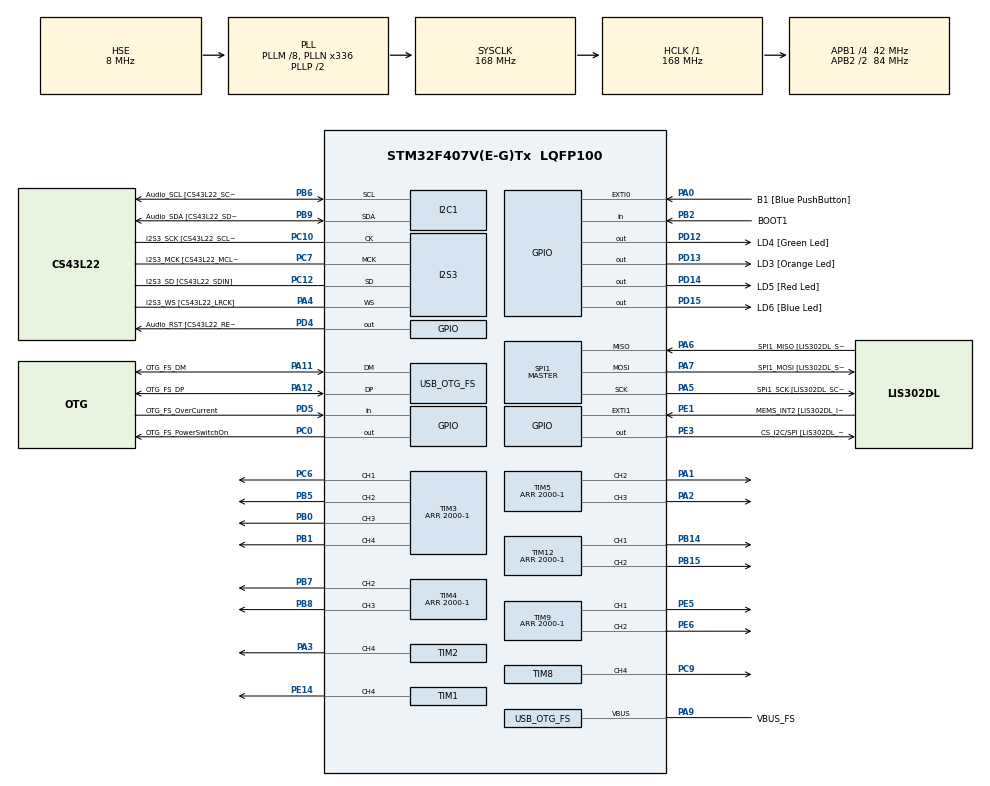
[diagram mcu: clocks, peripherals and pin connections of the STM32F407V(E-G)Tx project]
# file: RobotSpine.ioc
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FREERTOS.BinarySemaphores01=usbRxSemaphore,Static,usbRxSemaphoreControlBlock
FREERTOS.Tasks01=defaultTask,24,128,StartDefaultTask,Default,NULL,Dynamic,NULL,NULL
I2S3.AudioFreq-Half_Duplex_Master=I2S_AUDIOFREQ_96K
I2S3.ErrorAudioFreq=-2.34 %
I2S3.ErrorAudioFreq-Half_Duplex_Master=0.8 %
I2S3.FullDuplexMode=I2S_FULLDUPLEXMODE_DISABLE
I2S3.Instance=SPI$Index
I2S3.RealAudioFreq=93.75 KHz
I2S3.RealAudioFreq-Half_Duplex_Master=96.774 KHz
I2S3.VirtualMode=I2S_MODE_MASTER
Mcu.Family=STM32F4
Mcu.Name=STM32F407V(E-G)Tx
Mcu.Package=LQFP100
NVIC.OTG_FS_IRQn=true\:5\:0\:false\:false\:true\:true\:true\:true
NVIC.PriorityGroup=NVIC_PRIORITYGROUP_4
NVIC.TIM7_IRQn=true\:0\:0\:false\:false\:true\:false\:false\:true
NVIC.TimeBase=TIM7_IRQn
NVIC.TimeBaseIP=TIM7
PA0-WKUP.GPIO_Label=B1 [Blue PushButton]
PA0-WKUP.GPIO_ModeDefaultEXTI=GPIO_MODE_EVT_RISING
PA0-WKUP.GPIO_PuPd=GPIO_NOPULL
PA0-WKUP.Signal=GPXTI0
PA1.Signal=S_TIM5_CH2
PA10.GPIO_Label=OTG_FS_ID
PA10.GPIO_Mode=GPIO_MODE_AF_PP
PA10.GPIO_PuPd=GPIO_NOPULL
PA10.GPIO_Speed=GPIO_SPEED_FREQ_LOW
PA10.Signal=USB_OTG_FS_ID
PA11.GPIO_Label=OTG_FS_DM
PA11.GPIO_Mode=GPIO_MODE_AF_PP
PA11.GPIO_PuPd=GPIO_NOPULL
PA11.GPIO_Speed=GPIO_SPEED_FREQ_LOW
PA11.Mode=Device_Only
PA11.Signal=USB_OTG_FS_DM
PA12.GPIO_Label=OTG_FS_DP
PA12.GPIO_Mode=GPIO_MODE_AF_PP
PA12.GPIO_PuPd=GPIO_NOPULL
PA12.GPIO_Speed=GPIO_SPEED_FREQ_LOW
PA12.Mode=Device_Only
PA12.Signal=USB_OTG_FS_DP
PA13.GPIO_Label=SWDIO
PA13.Mode=Serial_Wire
PA13.Signal=SYS_JTMS-SWDIO
PA14.GPIO_Label=SWCLK
PA14.Mode=Serial_Wire
PA14.Signal=SYS_JTCK-SWCLK
PA2.Signal=S_TIM5_CH3
PA3.Signal=S_TIM2_CH4
PA4.GPIO_Label=I2S3_WS [CS43L22_LRCK]
PA4.GPIO_Mode=GPIO_MODE_AF_PP
PA4.GPIO_PuPd=GPIO_NOPULL
PA4.GPIO_Speed=GPIO_SPEED_FREQ_LOW
PA4.Mode=Half_Duplex_Master
PA4.Signal=I2S3_WS
PA5.GPIO_Label=SPI1_SCK [LIS302DL_SCL/SPC]
PA5.GPIO_Mode=GPIO_MODE_AF_PP
PA5.GPIO_PuPd=GPIO_NOPULL
PA5.GPIO_Speed=GPIO_SPEED_FREQ_LOW
PA5.Mode=Full_Duplex_Master
PA5.Signal=SPI1_SCK
PA6.GPIO_Label=SPI1_MISO [LIS302DL_SDO]
PA6.GPIO_Mode=GPIO_MODE_AF_PP
PA6.GPIO_PuPd=GPIO_NOPULL
PA6.GPIO_Speed=GPIO_SPEED_FREQ_LOW
PA6.Mode=Full_Duplex_Master
PA6.Signal=SPI1_MISO
PA7.GPIO_Label=SPI1_MOSI [LIS302DL_SDA/SDI/SDO]
PA7.GPIO_Mode=GPIO_MODE_AF_PP
PA7.GPIO_PuPd=GPIO_NOPULL
PA7.GPIO_Speed=GPIO_SPEED_FREQ_LOW
PA7.Mode=Full_Duplex_Master
PA7.Signal=SPI1_MOSI
PA9.GPIO_Label=VBUS_FS
PA9.GPIO_Mode=GPIO_MODE_INPUT
PA9.GPIO_PuPd=GPIO_NOPULL
PA9.Mode=Activate_VBUS
PA9.Signal=USB_OTG_FS_VBUS
PB0.Signal=S_TIM3_CH3
PB1.Signal=S_TIM3_CH4
PB10.GPIO_Label=CLK_IN [MP45DT02_CLK]
PB10.GPIO_Mode=GPIO_MODE_AF_PP
PB10.GPIO_PuPd=GPIO_NOPULL
PB10.GPIO_Speed=GPIO_SPEED_FREQ_LOW
PB10.Signal=I2S2_CK
PB14.Signal=S_TIM12_CH1
PB15.Signal=S_TIM12_CH2
PB2.GPIO_Label=BOOT1
PB2.GPIO_Mode=GPIO_MODE_INPUT
PB2.GPIO_PuPd=GPIO_NOPULL
PB2.Signal=GPIO_Input
PB3.GPIO_Label=SWO
PB3.Signal=SYS_JTDO-SWO
PB5.Signal=S_TIM3_CH2
PB6.GPIO_Label=Audio_SCL [CS43L22_SCL]
PB6.GPIO_Mode=GPIO_MODE_AF_OD
PB6.GPIO_PuPd=GPIO_NOPULL
PB6.GPIO_Speed=GPIO_SPEED_FREQ_LOW
PB6.Mode=I2C
PB6.Signal=I2C1_SCL
PB7.Signal=S_TIM4_CH2
PB8.Signal=S_TIM4_CH3
PB9.GPIO_Label=Audio_SDA [CS43L22_SDA]
PB9.GPIO_Mode=GPIO_MODE_AF_OD
PB9.GPIO_PuPd=GPIO_NOPULL
PB9.GPIO_Speed=GPIO_SPEED_FREQ_LOW
PB9.Mode=I2C
PB9.Signal=I2C1_SDA
PC0.GPIO_Label=OTG_FS_PowerSwitchOn
PC0.GPIO_PuPd=GPIO_NOPULL
PC0.GPIO_Speed=GPIO_SPEED_FREQ_LOW
PC0.PinState=GPIO_PIN_SET
PC0.Signal=GPIO_Output
PC10.GPIO_Label=I2S3_SCK [CS43L22_SCLK]
PC10.GPIO_Mode=GPIO_MODE_AF_PP
PC10.GPIO_PuPd=GPIO_NOPULL
PC10.GPIO_Speed=GPIO_SPEED_FREQ_LOW
PC10.Mode=Half_Duplex_Master
PC10.Signal=I2S3_CK
PC12.GPIO_Label=I2S3_SD [CS43L22_SDIN]
PC12.GPIO_Mode=GPIO_MODE_AF_PP
PC12.GPIO_PuPd=GPIO_NOPULL
PC12.GPIO_Speed=GPIO_SPEED_FREQ_LOW
PC12.Mode=Half_Duplex_Master
PC12.Signal=I2S3_SD
PC14-OSC32_IN.GPIO_Label=PC14-OSC32_IN
PC14-OSC32_IN.Mode=LSE-External-Oscillator
PC14-OSC32_IN.Signal=RCC_OSC32_IN
PC15-OSC32_OUT.GPIO_Label=PC15-OSC32_OUT
PC15-OSC32_OUT.Mode=LSE-External-Oscillator
PC15-OSC32_OUT.Signal=RCC_OSC32_OUT
PC3.GPIO_Label=PDM_OUT [MP45DT02_DOUT]
PC3.GPIO_Mode=GPIO_MODE_AF_PP
PC3.GPIO_PuPd=GPIO_NOPULL
PC3.GPIO_Speed=GPIO_SPEED_FREQ_LOW
PC3.Signal=I2S2_SD
PC6.Signal=S_TIM3_CH1
PC7.GPIO_Label=I2S3_MCK [CS43L22_MCLK]
PC7.GPIO_Mode=GPIO_MODE_AF_PP
PC7.GPIO_PuPd=GPIO_NOPULL
PC7.GPIO_Speed=GPIO_SPEED_FREQ_LOW
PC7.Mode=Master_Clock_Activated
PC7.Signal=I2S3_MCK
PC9.Signal=S_TIM8_CH4
PD12.GPIO_Label=LD4 [Green Led]
PD12.GPIO_PuPd=GPIO_NOPULL
PD12.GPIO_Speed=GPIO_SPEED_FREQ_LOW
PD12.Signal=GPIO_Output
PD13.GPIO_Label=LD3 [Orange Led]
PD13.GPIO_PuPd=GPIO_NOPULL
PD13.GPIO_Speed=GPIO_SPEED_FREQ_LOW
PD13.Signal=GPIO_Output
PD14.GPIO_Label=LD5 [Red Led]
PD14.GPIO_PuPd=GPIO_NOPULL
PD14.GPIO_Speed=GPIO_SPEED_FREQ_LOW
PD14.Signal=GPIO_Output
PD15.GPIO_Label=LD6 [Blue Led]
PD15.GPIO_PuPd=GPIO_NOPULL
PD15.GPIO_Speed=GPIO_SPEED_FREQ_LOW
PD15.Signal=GPIO_Output
PD4.GPIO_Label=Audio_RST [CS43L22_RESET]
PD4.GPIO_PuPd=GPIO_NOPULL
PD4.GPIO_Speed=GPIO_SPEED_FREQ_LOW
PD4.Signal=GPIO_Output
PD5.GPIO_Label=OTG_FS_OverCurrent
PD5.GPIO_Mode=GPIO_MODE_INPUT
PD5.GPIO_PuPd=GPIO_NOPULL
PD5.Signal=GPIO_Input
PE1.GPIO_Label=MEMS_INT2 [LIS302DL_INT2]
PE1.GPIO_ModeDefaultEXTI=GPIO_MODE_EVT_RISING
PE1.GPIO_PuPd=GPIO_NOPULL
PE1.Signal=GPXTI1
PE14.Signal=S_TIM1_CH4
PE3.GPIO_Label=CS_I2C/SPI [LIS302DL_CS_I2C/SPI]
PE3.GPIO_PuPd=GPIO_NOPULL
PE3.GPIO_Speed=GPIO_SPEED_FREQ_LOW
PE3.Signal=GPIO_Output
PE5.Signal=S_TIM9_CH1
PE6.Signal=S_TIM9_CH2
PH0-OSC_IN.GPIO_Label=PH0-OSC_IN
PH0-OSC_IN.Mode=HSE-External-Oscillator
PH0-OSC_IN.Signal=RCC_OSC_IN
PH1-OSC_OUT.GPIO_Label=PH1-OSC_OUT
PH1-OSC_OUT.Mode=HSE-External-Oscillator
PH1-OSC_OUT.Signal=RCC_OSC_OUT
ProjectManager.HeapSize=0x400
ProjectManager.StackSize=0x800
ProjectManager.TargetToolchain=Makefile
RCC.48MHZClocksFreq_Value=48000000
RCC.AHBFreq_Value=168000000
RCC.APB1CLKDivider=RCC_HCLK_DIV4
RCC.APB1Freq_Value=42000000
RCC.APB1TimFreq_Value=84000000
RCC.APB2CLKDivider=RCC_HCLK_DIV2
RCC.APB2Freq_Value=84000000
RCC.APB2TimFreq_Value=168000000
RCC.CortexFreq_Value=168000000
RCC.HCLKFreq_Value=168000000
RCC.HSE_VALUE=8000000
RCC.HSI_VALUE=16000000
RCC.PLLM=8
RCC.PLLN=336
RCC.PLLQ=7
RCC.SYSCLKFreq_VALUE=168000000
RCC.SYSCLKSource=RCC_SYSCLKSOURCE_PLLCLK
RCC.VCOOutputFreq_Value=336000000
SH.S_TIM12_CH1.0=TIM12_CH1,PWM Generation1 CH1
SH.S_TIM12_CH2.0=TIM12_CH2,PWM Generation2 CH2
SH.S_TIM1_CH4.0=TIM1_CH4,PWM Generation4 CH4
SH.S_TIM2_CH4.0=TIM2_CH4,PWM Generation4 CH4
SH.S_TIM3_CH1.0=TIM3_CH1,PWM Generation1 CH1
SH.S_TIM3_CH2.0=TIM3_CH2,PWM Generation2 CH2
SH.S_TIM3_CH3.0=TIM3_CH3,PWM Generation3 CH3
SH.S_TIM3_CH4.0=TIM3_CH4,PWM Generation4 CH4
SH.S_TIM4_CH2.0=TIM4_CH2,PWM Generation2 CH2
SH.S_TIM4_CH3.0=TIM4_CH3,PWM Generation3 CH3
SH.S_TIM5_CH2.0=TIM5_CH2,PWM Generation2 CH2
SH.S_TIM5_CH3.0=TIM5_CH3,PWM Generation3 CH3
SH.S_TIM8_CH4.0=TIM8_CH4,PWM Generation4 CH4
SH.S_TIM9_CH1.0=TIM9_CH1,PWM Generation1 CH1
SH.S_TIM9_CH2.0=TIM9_CH2,PWM Generation2 CH2
SPI1.BaudRatePrescaler-Full_Duplex_Master=SPI_BAUDRATEPRESCALER_2
SPI1.CalculateBaudRate-Full_Duplex_Master=42.0 MBits/s
SPI1.Direction=SPI_DIRECTION_2LINES
SPI1.Mode=SPI_MODE_MASTER
SPI1.Mode-Full_Duplex_Master=SPI_MODE_MASTER
SPI1.VirtualType=VM_MASTER
TIM1.Channel-PWM\ Generation4\ CH4=TIM_CHANNEL_4
TIM1.Period=2000-1
TIM12.Channel-PWM\ Generation1\ CH1=TIM_CHANNEL_1
TIM12.Channel-PWM\ Generation2\ CH2=TIM_CHANNEL_2
TIM12.Period=2000-1
TIM2.Channel-PWM\ Generation4\ CH4=TIM_CHANNEL_4
TIM2.Period=2000-1
TIM3.Channel-PWM\ Generation1\ CH1=TIM_CHANNEL_1
TIM3.Channel-PWM\ Generation2\ CH2=TIM_CHANNEL_2
TIM3.Channel-PWM\ Generation3\ CH3=TIM_CHANNEL_3
TIM3.Channel-PWM\ Generation4\ CH4=TIM_CHANNEL_4
TIM3.Period=2000-1
TIM4.Channel-PWM\ Generation2\ CH2=TIM_CHANNEL_2
TIM4.Channel-PWM\ Generation3\ CH3=TIM_CHANNEL_3
TIM4.Period=2000-1
TIM5.Channel-PWM\ Generation2\ CH2=TIM_CHANNEL_2
TIM5.Channel-PWM\ Generation3\ CH3=TIM_CHANNEL_3
TIM5.Period=2000-1
TIM8.Channel-PWM\ Generation4\ CH4=TIM_CHANNEL_4
TIM8.Period=2000-1
TIM9.Channel-PWM\ Generation1\ CH1=TIM_CHANNEL_1
TIM9.Channel-PWM\ Generation2\ CH2=TIM_CHANNEL_2
TIM9.Period=2000-1
USB_DEVICE.CLASS_NAME_FS=CDC
USB_DEVICE.VirtualMode-CDC_FS=Cdc
USB_DEVICE.VirtualModeFS=Cdc_FS
USB_OTG_FS.VirtualMode=Device_Only
VP_FREERTOS_VS_CMSIS_V2.Mode=CMSIS_V2
VP_SYS_VS_tim7.Mode=TIM7
VP_TIM12_VS_ClockSourceINT.Mode=Internal
VP_TIM1_VS_ClockSourceINT.Mode=Internal
VP_TIM2_VS_ClockSourceINT.Mode=Internal
VP_TIM3_VS_ClockSourceINT.Mode=Internal
VP_TIM4_VS_ClockSourceINT.Mode=Internal
VP_TIM5_VS_ClockSourceINT.Mode=Internal
VP_TIM8_VS_ClockSourceINT.Mode=Internal
VP_TIM9_VS_ClockSourceINT.Mode=Internal
VP_USB_DEVICE_VS_USB_DEVICE_CDC_FS.Mode=CDC_FS
board=STM32F407G-DISC1

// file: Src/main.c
/* USER CODE BEGIN Header */
/**
  ******************************************************************************
  * @file           : main.c
  * @brief          : Main program body
  ******************************************************************************
  * @attention
  *
  * <h2><center>&copy; Copyright (c) 2019 STMicroelectronics.
  * All rights reserved.</center></h2>
  *
  * This software component is licensed by ST under Ultimate Liberty license
  * SLA0044, the "License"; You may not use this file except in compliance with
  * the License. You may obtain a copy of the License at:
  *                             www.st.com/SLA0044
  *
  ******************************************************************************
  */
/* USER CODE END Header */

#include "main.h"
#include "cmsis_os.h"
#include "usb_device.h"

I2C_HandleTypeDef hi2c1;

I2S_HandleTypeDef hi2s3;

SPI_HandleTypeDef hspi1;

TIM_HandleTypeDef htim1;
TIM_HandleTypeDef htim2;
TIM_HandleTypeDef htim3;
TIM_HandleTypeDef htim4;
TIM_HandleTypeDef htim5;
TIM_HandleTypeDef htim8;
TIM_HandleTypeDef htim9;
TIM_HandleTypeDef htim12;

typedef StaticSemaphore_t osStaticSemaphoreDef_t;
osThreadId_t defaultTaskHandle;
osSemaphoreId_t usbRxSemaphoreHandle;
osStaticSemaphoreDef_t usbRxSemaphoreControlBlock;
/* USER CODE BEGIN PV */
tmStruct Servos[SERVOS_NUM];
/* USER CODE END PV */

void SystemClock_Config(void);
static void MX_GPIO_Init(void);
static void MX_I2C1_Init(void);
static void MX_I2S3_Init(void);
static void MX_SPI1_Init(void);
static void MX_TIM1_Init(void);
static void MX_TIM2_Init(void);
static void MX_TIM3_Init(void);
static void MX_TIM4_Init(void);
static void MX_TIM5_Init(void);
static void MX_TIM8_Init(void);
static void MX_TIM9_Init(void);
static void MX_TIM12_Init(void);
void StartDefaultTask(void *argument);

/* USER CODE BEGIN 0 */
void SetServos(uint8_t Num, tmStruct Value )
{
  Servos[Num] = Value;
}
/* USER CODE END 0 */

int main(void)
{

  /* USER CODE BEGIN 1 */
  int i;
  int j;
  /* USER CODE END 1 */

  /* MCU Configuration--------------------------------------------------------*/

  /* Reset of all peripherals, Initializes the Flash interface and the Systick. */
  HAL_Init();

  /* Configure the system clock */
  SystemClock_Config();

  /* USER CODE BEGIN SysInit */
  for(i = 0; i < SERVOS_NUM; i++)
  {
    Servos[i].refreshed = NULL;
    Servos[i].FirstJoint = 0;
    Servos[i].SecondJoint = 0;
    Servos[i].ThirdJoint = 0;
  }
  /* USER CODE END SysInit */

  /* Initialize all configured peripherals */
  MX_GPIO_Init();
  MX_I2C1_Init();
  MX_I2S3_Init();
  MX_SPI1_Init();
  MX_TIM1_Init();
  MX_TIM2_Init();
  MX_TIM3_Init();
  MX_TIM4_Init();
  MX_TIM5_Init();
  MX_TIM8_Init();
  MX_TIM9_Init();
  MX_TIM12_Init();

  osKernelInitialize();

  /* Create the semaphores(s) */
  /* definition and creation of usbRxSemaphore */
  const osSemaphoreAttr_t usbRxSemaphore_attributes = {
    .name = "usbRxSemaphore",
    .cb_mem = &usbRxSemaphoreControlBlock,
    .cb_size = sizeof(usbRxSemaphoreControlBlock),
  };
  usbRxSemaphoreHandle = osSemaphoreNew(1, 1, &usbRxSemaphore_attributes);

  /* Create the thread(s) */
  /* definition and creation of defaultTask */
  const osThreadAttr_t defaultTask_attributes = {
    .name = "defaultTask",
    .priority = (osPriority_t) osPriorityNormal,
    .stack_size = 128
  };
  defaultTaskHandle = osThreadNew(StartDefaultTask, NULL, &defaultTask_attributes);

  /* Start scheduler */
  osKernelStart();

  /* We should never get here as control is now taken by the scheduler */

  /* Infinite loop */
  while (1)
  {

  }
}

void SystemClock_Config(void)
{
  RCC_OscInitTypeDef RCC_OscInitStruct = {0};
  RCC_ClkInitTypeDef RCC_ClkInitStruct = {0};
  RCC_PeriphCLKInitTypeDef PeriphClkInitStruct = {0};

  /** Configure the main internal regulator output voltage
  */
  __HAL_RCC_PWR_CLK_ENABLE();
  __HAL_PWR_VOLTAGESCALING_CONFIG(PWR_REGULATOR_VOLTAGE_SCALE1);
  /** Initializes the CPU, AHB and APB busses clocks
  */
  RCC_OscInitStruct.OscillatorType = RCC_OSCILLATORTYPE_HSE;
  RCC_OscInitStruct.HSEState = RCC_HSE_ON;
  RCC_OscInitStruct.PLL.PLLState = RCC_PLL_ON;
  RCC_OscInitStruct.PLL.PLLSource = RCC_PLLSOURCE_HSE;
  RCC_OscInitStruct.PLL.PLLM = 8;
  RCC_OscInitStruct.PLL.PLLN = 336;
  RCC_OscInitStruct.PLL.PLLP = RCC_PLLP_DIV2;
  RCC_OscInitStruct.PLL.PLLQ = 7;
  if (HAL_RCC_OscConfig(&RCC_OscInitStruct) != HAL_OK)
  {
    Error_Handler();
  }
  /** Initializes the CPU, AHB and APB busses clocks
  */
  RCC_ClkInitStruct.ClockType = RCC_CLOCKTYPE_HCLK|RCC_CLOCKTYPE_SYSCLK
                              |RCC_CLOCKTYPE_PCLK1|RCC_CLOCKTYPE_PCLK2;
  RCC_ClkInitStruct.SYSCLKSource = RCC_SYSCLKSOURCE_PLLCLK;
  RCC_ClkInitStruct.AHBCLKDivider = RCC_SYSCLK_DIV1;
  RCC_ClkInitStruct.APB1CLKDivider = RCC_HCLK_DIV4;
  RCC_ClkInitStruct.APB2CLKDivider = RCC_HCLK_DIV2;

  if (HAL_RCC_ClockConfig(&RCC_ClkInitStruct, FLASH_LATENCY_5) != HAL_OK)
  {
    Error_Handler();
  }
  PeriphClkInitStruct.PeriphClockSelection = RCC_PERIPHCLK_I2S;
  PeriphClkInitStruct.PLLI2S.PLLI2SN = 192;
  PeriphClkInitStruct.PLLI2S.PLLI2SR = 2;
  if (HAL_RCCEx_PeriphCLKConfig(&PeriphClkInitStruct) != HAL_OK)
  {
    Error_Handler();
  }
}

static void MX_I2C1_Init(void)
{

  hi2c1.Instance = I2C1;
  hi2c1.Init.ClockSpeed = 100000;
  hi2c1.Init.DutyCycle = I2C_DUTYCYCLE_2;
  hi2c1.Init.OwnAddress1 = 0;
  hi2c1.Init.AddressingMode = I2C_ADDRESSINGMODE_7BIT;
  hi2c1.Init.DualAddressMode = I2C_DUALADDRESS_DISABLE;
  hi2c1.Init.OwnAddress2 = 0;
  hi2c1.Init.GeneralCallMode = I2C_GENERALCALL_DISABLE;
  hi2c1.Init.NoStretchMode = I2C_NOSTRETCH_DISABLE;
  if (HAL_I2C_Init(&hi2c1) != HAL_OK)
  {
    Error_Handler();
  }

}

static void MX_I2S3_Init(void)
{

  hi2s3.Instance = SPI3;
  hi2s3.Init.Mode = I2S_MODE_MASTER_TX;
  hi2s3.Init.Standard = I2S_STANDARD_PHILIPS;
  hi2s3.Init.DataFormat = I2S_DATAFORMAT_16B;
  hi2s3.Init.MCLKOutput = I2S_MCLKOUTPUT_ENABLE;
  hi2s3.Init.AudioFreq = I2S_AUDIOFREQ_96K;
  hi2s3.Init.CPOL = I2S_CPOL_LOW;
  hi2s3.Init.ClockSource = I2S_CLOCK_PLL;
  hi2s3.Init.FullDuplexMode = I2S_FULLDUPLEXMODE_DISABLE;
  if (HAL_I2S_Init(&hi2s3) != HAL_OK)
  {
    Error_Handler();
  }

}

static void MX_SPI1_Init(void)
{

  /* SPI1 parameter configuration*/
  hspi1.Instance = SPI1;
  hspi1.Init.Mode = SPI_MODE_MASTER;
  hspi1.Init.Direction = SPI_DIRECTION_2LINES;
  hspi1.Init.DataSize = SPI_DATASIZE_8BIT;
  hspi1.Init.CLKPolarity = SPI_POLARITY_LOW;
  hspi1.Init.CLKPhase = SPI_PHASE_1EDGE;
  hspi1.Init.NSS = SPI_NSS_SOFT;
  hspi1.Init.BaudRatePrescaler = SPI_BAUDRATEPRESCALER_2;
  hspi1.Init.FirstBit = SPI_FIRSTBIT_MSB;
  hspi1.Init.TIMode = SPI_TIMODE_DISABLE;
  hspi1.Init.CRCCalculation = SPI_CRCCALCULATION_DISABLE;
  hspi1.Init.CRCPolynomial = 10;
  if (HAL_SPI_Init(&hspi1) != HAL_OK)
  {
    Error_Handler();
  }

}

static void MX_TIM1_Init(void)
{

  TIM_ClockConfigTypeDef sClockSourceConfig = {0};
  TIM_MasterConfigTypeDef sMasterConfig = {0};
  TIM_OC_InitTypeDef sConfigOC = {0};
  TIM_BreakDeadTimeConfigTypeDef sBreakDeadTimeConfig = {0};

  htim1.Instance = TIM1;
  htim1.Init.Prescaler = 0;
  htim1.Init.CounterMode = TIM_COUNTERMODE_UP;
  htim1.Init.Period = 2000-1;
  htim1.Init.ClockDivision = TIM_CLOCKDIVISION_DIV1;
  htim1.Init.RepetitionCounter = 0;
  htim1.Init.AutoReloadPreload = TIM_AUTORELOAD_PRELOAD_DISABLE;
  if (HAL_TIM_Base_Init(&htim1) != HAL_OK)
  {
    Error_Handler();
  }
  sClockSourceConfig.ClockSource = TIM_CLOCKSOURCE_INTERNAL;
  if (HAL_TIM_ConfigClockSource(&htim1, &sClockSourceConfig) != HAL_OK)
  {
    Error_Handler();
  }
  if (HAL_TIM_PWM_Init(&htim1) != HAL_OK)
  {
    Error_Handler();
  }
  sMasterConfig.MasterOutputTrigger = TIM_TRGO_RESET;
  sMasterConfig.MasterSlaveMode = TIM_MASTERSLAVEMODE_DISABLE;
  if (HAL_TIMEx_MasterConfigSynchronization(&htim1, &sMasterConfig) != HAL_OK)
  {
    Error_Handler();
  }
  sConfigOC.OCMode = TIM_OCMODE_PWM1;
  sConfigOC.Pulse = 0;
  sConfigOC.OCPolarity = TIM_OCPOLARITY_HIGH;
  sConfigOC.OCFastMode = TIM_OCFAST_DISABLE;
  sConfigOC.OCIdleState = TIM_OCIDLESTATE_RESET;
  sConfigOC.OCNIdleState = TIM_OCNIDLESTATE_RESET;
  if (HAL_TIM_PWM_ConfigChannel(&htim1, &sConfigOC, TIM_CHANNEL_4) != HAL_OK)
  {
    Error_Handler();
  }
  sBreakDeadTimeConfig.OffStateRunMode = TIM_OSSR_DISABLE;
  sBreakDeadTimeConfig.OffStateIDLEMode = TIM_OSSI_DISABLE;
  sBreakDeadTimeConfig.LockLevel = TIM_LOCKLEVEL_OFF;
  sBreakDeadTimeConfig.DeadTime = 0;
  sBreakDeadTimeConfig.BreakState = TIM_BREAK_DISABLE;
  sBreakDeadTimeConfig.BreakPolarity = TIM_BREAKPOLARITY_HIGH;
  sBreakDeadTimeConfig.AutomaticOutput = TIM_AUTOMATICOUTPUT_DISABLE;
  if (HAL_TIMEx_ConfigBreakDeadTime(&htim1, &sBreakDeadTimeConfig) != HAL_OK)
  {
    Error_Handler();
  }
  HAL_TIM_MspPostInit(&htim1);

}

static void MX_TIM2_Init(void)
{

  TIM_ClockConfigTypeDef sClockSourceConfig = {0};
  TIM_MasterConfigTypeDef sMasterConfig = {0};
  TIM_OC_InitTypeDef sConfigOC = {0};

  htim2.Instance = TIM2;
  htim2.Init.Prescaler = 0;
  htim2.Init.CounterMode = TIM_COUNTERMODE_UP;
  htim2.Init.Period = 2000-1;
  htim2.Init.ClockDivision = TIM_CLOCKDIVISION_DIV1;
  htim2.Init.AutoReloadPreload = TIM_AUTORELOAD_PRELOAD_DISABLE;
  if (HAL_TIM_Base_Init(&htim2) != HAL_OK)
  {
    Error_Handler();
  }
  sClockSourceConfig.ClockSource = TIM_CLOCKSOURCE_INTERNAL;
  if (HAL_TIM_ConfigClockSource(&htim2, &sClockSourceConfig) != HAL_OK)
  {
    Error_Handler();
  }
  if (HAL_TIM_PWM_Init(&htim2) != HAL_OK)
  {
    Error_Handler();
  }
  sMasterConfig.MasterOutputTrigger = TIM_TRGO_RESET;
  sMasterConfig.MasterSlaveMode = TIM_MASTERSLAVEMODE_DISABLE;
  if (HAL_TIMEx_MasterConfigSynchronization(&htim2, &sMasterConfig) != HAL_OK)
  {
    Error_Handler();
  }
  sConfigOC.OCMode = TIM_OCMODE_PWM1;
  sConfigOC.Pulse = 0;
  sConfigOC.OCPolarity = TIM_OCPOLARITY_HIGH;
  sConfigOC.OCFastMode = TIM_OCFAST_DISABLE;
  if (HAL_TIM_PWM_ConfigChannel(&htim2, &sConfigOC, TIM_CHANNEL_4) != HAL_OK)
  {
    Error_Handler();
  }
  HAL_TIM_MspPostInit(&htim2);

}

static void MX_TIM3_Init(void)
{

  TIM_ClockConfigTypeDef sClockSourceConfig = {0};
  TIM_MasterConfigTypeDef sMasterConfig = {0};
  TIM_OC_InitTypeDef sConfigOC = {0};

  htim3.Instance = TIM3;
  htim3.Init.Prescaler = 1000;
  htim3.Init.CounterMode = TIM_COUNTERMODE_UP;
  htim3.Init.Period = 1667-1;
  htim3.Init.ClockDivision = TIM_CLOCKDIVISION_DIV1;
  htim3.Init.AutoReloadPreload = TIM_AUTORELOAD_PRELOAD_DISABLE;
  if (HAL_TIM_Base_Init(&htim3) != HAL_OK)
  {
    Error_Handler();
  }
  sClockSourceConfig.ClockSource = TIM_CLOCKSOURCE_INTERNAL;
  if (HAL_TIM_ConfigClockSource(&htim3, &sClockSourceConfig) != HAL_OK)
  {
    Error_Handler();
  }
  if (HAL_TIM_PWM_Init(&htim3) != HAL_OK)
  {
    Error_Handler();
  }
  sMasterConfig.MasterOutputTrigger = TIM_TRGO_RESET;
  sMasterConfig.MasterSlaveMode = TIM_MASTERSLAVEMODE_DISABLE;
  if (HAL_TIMEx_MasterConfigSynchronization(&htim3, &sMasterConfig) != HAL_OK)
  {
    Error_Handler();
  }
  sConfigOC.OCMode = TIM_OCMODE_PWM1;
  sConfigOC.Pulse = 0;
  sConfigOC.OCPolarity = TIM_OCPOLARITY_HIGH;
  sConfigOC.OCFastMode = TIM_OCFAST_DISABLE;
  if (HAL_TIM_PWM_ConfigChannel(&htim3, &sConfigOC, TIM_CHANNEL_1) != HAL_OK)
  {
    Error_Handler();
  }
  if (HAL_TIM_PWM_ConfigChannel(&htim3, &sConfigOC, TIM_CHANNEL_2) != HAL_OK)
  {
    Error_Handler();
  }
  if (HAL_TIM_PWM_ConfigChannel(&htim3, &sConfigOC, TIM_CHANNEL_3) != HAL_OK)
  {
    Error_Handler();
  }
  if (HAL_TIM_PWM_ConfigChannel(&htim3, &sConfigOC, TIM_CHANNEL_4) != HAL_OK)
  {
    Error_Handler();
  }
  HAL_TIM_MspPostInit(&htim3);

}

static void MX_TIM4_Init(void)
{

  TIM_ClockConfigTypeDef sClockSourceConfig = {0};
  TIM_MasterConfigTypeDef sMasterConfig = {0};
  TIM_OC_InitTypeDef sConfigOC = {0};

  htim4.Instance = TIM4;
  htim4.Init.Prescaler = 0;
  htim4.Init.CounterMode = TIM_COUNTERMODE_UP;
  htim4.Init.Period = 2000-1;
  htim4.Init.ClockDivision = TIM_CLOCKDIVISION_DIV1;
  htim4.Init.AutoReloadPreload = TIM_AUTORELOAD_PRELOAD_DISABLE;
  if (HAL_TIM_Base_Init(&htim4) != HAL_OK)
  {
    Error_Handler();
  }
  sClockSourceConfig.ClockSource = TIM_CLOCKSOURCE_INTERNAL;
  if (HAL_TIM_ConfigClockSource(&htim4, &sClockSourceConfig) != HAL_OK)
  {
    Error_Handler();
  }
  if (HAL_TIM_PWM_Init(&htim4) != HAL_OK)
  {
    Error_Handler();
  }
  sMasterConfig.MasterOutputTrigger = TIM_TRGO_RESET;
  sMasterConfig.MasterSlaveMode = TIM_MASTERSLAVEMODE_DISABLE;
  if (HAL_TIMEx_MasterConfigSynchronization(&htim4, &sMasterConfig) != HAL_OK)
  {
    Error_Handler();
  }
  sConfigOC.OCMode = TIM_OCMODE_PWM1;
  sConfigOC.Pulse = 0;
  sConfigOC.OCPolarity = TIM_OCPOLARITY_HIGH;
  sConfigOC.OCFastMode = TIM_OCFAST_DISABLE;
  if (HAL_TIM_PWM_ConfigChannel(&htim4, &sConfigOC, TIM_CHANNEL_2) != HAL_OK)
  {
    Error_Handler();
  }
  if (HAL_TIM_PWM_ConfigChannel(&htim4, &sConfigOC, TIM_CHANNEL_3) != HAL_OK)
  {
    Error_Handler();
  }
  HAL_TIM_MspPostInit(&htim4);

}

static void MX_TIM5_Init(void)
{

  TIM_ClockConfigTypeDef sClockSourceConfig = {0};
  TIM_MasterConfigTypeDef sMasterConfig = {0};
  TIM_OC_InitTypeDef sConfigOC = {0};

  htim5.Instance = TIM5;
  htim5.Init.Prescaler = 0;
  htim5.Init.CounterMode = TIM_COUNTERMODE_UP;
  htim5.Init.Period = 2000-1;
  htim5.Init.ClockDivision = TIM_CLOCKDIVISION_DIV1;
  htim5.Init.AutoReloadPreload = TIM_AUTORELOAD_PRELOAD_DISABLE;
  if (HAL_TIM_Base_Init(&htim5) != HAL_OK)
  {
    Error_Handler();
  }
  sClockSourceConfig.ClockSource = TIM_CLOCKSOURCE_INTERNAL;
  if (HAL_TIM_ConfigClockSource(&htim5, &sClockSourceConfig) != HAL_OK)
  {
    Error_Handler();
  }
  if (HAL_TIM_PWM_Init(&htim5) != HAL_OK)
  {
    Error_Handler();
  }
  sMasterConfig.MasterOutputTrigger = TIM_TRGO_RESET;
  sMasterConfig.MasterSlaveMode = TIM_MASTERSLAVEMODE_DISABLE;
  if (HAL_TIMEx_MasterConfigSynchronization(&htim5, &sMasterConfig) != HAL_OK)
  {
    Error_Handler();
  }
  sConfigOC.OCMode = TIM_OCMODE_PWM1;
  sConfigOC.Pulse = 0;
  sConfigOC.OCPolarity = TIM_OCPOLARITY_HIGH;
  sConfigOC.OCFastMode = TIM_OCFAST_DISABLE;
  if (HAL_TIM_PWM_ConfigChannel(&htim5, &sConfigOC, TIM_CHANNEL_2) != HAL_OK)
  {
    Error_Handler();
  }
  if (HAL_TIM_PWM_ConfigChannel(&htim5, &sConfigOC, TIM_CHANNEL_3) != HAL_OK)
  {
    Error_Handler();
  }
  HAL_TIM_MspPostInit(&htim5);

}

static void MX_TIM8_Init(void)
{

  TIM_ClockConfigTypeDef sClockSourceConfig = {0};
  TIM_MasterConfigTypeDef sMasterConfig = {0};
  TIM_OC_InitTypeDef sConfigOC = {0};
  TIM_BreakDeadTimeConfigTypeDef sBreakDeadTimeConfig = {0};

  htim8.Instance = TIM8;
  htim8.Init.Prescaler = 0;
  htim8.Init.CounterMode = TIM_COUNTERMODE_UP;
  htim8.Init.Period = 2000-1;
  htim8.Init.ClockDivision = TIM_CLOCKDIVISION_DIV1;
  htim8.Init.RepetitionCounter = 0;
  htim8.Init.AutoReloadPreload = TIM_AUTORELOAD_PRELOAD_DISABLE;
  if (HAL_TIM_Base_Init(&htim8) != HAL_OK)
  {
    Error_Handler();
  }
  sClockSourceConfig.ClockSource = TIM_CLOCKSOURCE_INTERNAL;
  if (HAL_TIM_ConfigClockSource(&htim8, &sClockSourceConfig) != HAL_OK)
  {
    Error_Handler();
  }
  if (HAL_TIM_PWM_Init(&htim8) != HAL_OK)
  {
    Error_Handler();
  }
  sMasterConfig.MasterOutputTrigger = TIM_TRGO_RESET;
  sMasterConfig.MasterSlaveMode = TIM_MASTERSLAVEMODE_DISABLE;
  if (HAL_TIMEx_MasterConfigSynchronization(&htim8, &sMasterConfig) != HAL_OK)
  {
    Error_Handler();
  }
  sConfigOC.OCMode = TIM_OCMODE_PWM1;
  sConfigOC.Pulse = 0;
  sConfigOC.OCPolarity = TIM_OCPOLARITY_HIGH;
  sConfigOC.OCFastMode = TIM_OCFAST_DISABLE;
  sConfigOC.OCIdleState = TIM_OCIDLESTATE_RESET;
  sConfigOC.OCNIdleState = TIM_OCNIDLESTATE_RESET;
  if (HAL_TIM_PWM_ConfigChannel(&htim8, &sConfigOC, TIM_CHANNEL_4) != HAL_OK)
  {
    Error_Handler();
  }
  sBreakDeadTimeConfig.OffStateRunMode = TIM_OSSR_DISABLE;
  sBreakDeadTimeConfig.OffStateIDLEMode = TIM_OSSI_DISABLE;
  sBreakDeadTimeConfig.LockLevel = TIM_LOCKLEVEL_OFF;
  sBreakDeadTimeConfig.DeadTime = 0;
  sBreakDeadTimeConfig.BreakState = TIM_BREAK_DISABLE;
  sBreakDeadTimeConfig.BreakPolarity = TIM_BREAKPOLARITY_HIGH;
  sBreakDeadTimeConfig.AutomaticOutput = TIM_AUTOMATICOUTPUT_DISABLE;
  if (HAL_TIMEx_ConfigBreakDeadTime(&htim8, &sBreakDeadTimeConfig) != HAL_OK)
  {
    Error_Handler();
  }
  HAL_TIM_MspPostInit(&htim8);

}

static void MX_TIM9_Init(void)
{

  TIM_ClockConfigTypeDef sClockSourceConfig = {0};
  TIM_OC_InitTypeDef sConfigOC = {0};

  htim9.Instance = TIM9;
  htim9.Init.Prescaler = 0;
  htim9.Init.CounterMode = TIM_COUNTERMODE_UP;
  htim9.Init.Period = 2000-1;
  htim9.Init.ClockDivision = TIM_CLOCKDIVISION_DIV1;
  htim9.Init.AutoReloadPreload = TIM_AUTORELOAD_PRELOAD_DISABLE;
  if (HAL_TIM_Base_Init(&htim9) != HAL_OK)
  {
    Error_Handler();
  }
  sClockSourceConfig.ClockSource = TIM_CLOCKSOURCE_INTERNAL;
  if (HAL_TIM_ConfigClockSource(&htim9, &sClockSourceConfig) != HAL_OK)
  {
    Error_Handler();
  }
  if (HAL_TIM_PWM_Init(&htim9) != HAL_OK)
  {
    Error_Handler();
  }
  sConfigOC.OCMode = TIM_OCMODE_PWM1;
  sConfigOC.Pulse = 0;
  sConfigOC.OCPolarity = TIM_OCPOLARITY_HIGH;
  sConfigOC.OCFastMode = TIM_OCFAST_DISABLE;
  if (HAL_TIM_PWM_ConfigChannel(&htim9, &sConfigOC, TIM_CHANNEL_1) != HAL_OK)
  {
    Error_Handler();
  }
  if (HAL_TIM_PWM_ConfigChannel(&htim9, &sConfigOC, TIM_CHANNEL_2) != HAL_OK)
  {
    Error_Handler();
  }
  HAL_TIM_MspPostInit(&htim9);

}

static void MX_TIM12_Init(void)
{

  TIM_ClockConfigTypeDef sClockSourceConfig = {0};
  TIM_OC_InitTypeDef sConfigOC = {0};

  htim12.Instance = TIM12;
  htim12.Init.Prescaler = 0;
  htim12.Init.CounterMode = TIM_COUNTERMODE_UP;
  htim12.Init.Period = 2000-1;
  htim12.Init.ClockDivision = TIM_CLOCKDIVISION_DIV1;
  htim12.Init.AutoReloadPreload = TIM_AUTORELOAD_PRELOAD_DISABLE;
  if (HAL_TIM_Base_Init(&htim12) != HAL_OK)
  {
    Error_Handler();
  }
  sClockSourceConfig.ClockSource = TIM_CLOCKSOURCE_INTERNAL;
  if (HAL_TIM_ConfigClockSource(&htim12, &sClockSourceConfig) != HAL_OK)
  {
    Error_Handler();
  }
  if (HAL_TIM_PWM_Init(&htim12) != HAL_OK)
  {
    Error_Handler();
  }
  sConfigOC.OCMode = TIM_OCMODE_PWM1;
  sConfigOC.Pulse = 0;
  sConfigOC.OCPolarity = TIM_OCPOLARITY_HIGH;
  sConfigOC.OCFastMode = TIM_OCFAST_DISABLE;
  if (HAL_TIM_PWM_ConfigChannel(&htim12, &sConfigOC, TIM_CHANNEL_1) != HAL_OK)
  {
    Error_Handler();
  }
  if (HAL_TIM_PWM_ConfigChannel(&htim12, &sConfigOC, TIM_CHANNEL_2) != HAL_OK)
  {
    Error_Handler();
  }
  HAL_TIM_MspPostInit(&htim12);

}

static void MX_GPIO_Init(void)
{
  GPIO_InitTypeDef GPIO_InitStruct = {0};

  /* GPIO Ports Clock Enable */
  __HAL_RCC_GPIOE_CLK_ENABLE();
  __HAL_RCC_GPIOC_CLK_ENABLE();
  __HAL_RCC_GPIOH_CLK_ENABLE();
  __HAL_RCC_GPIOA_CLK_ENABLE();
  __HAL_RCC_GPIOB_CLK_ENABLE();
  __HAL_RCC_GPIOD_CLK_ENABLE();

  /*Configure GPIO pin Output Level */
  HAL_GPIO_WritePin(CS_I2C_SPI_GPIO_Port, CS_I2C_SPI_Pin, GPIO_PIN_RESET);

  /*Configure GPIO pin Output Level */
  HAL_GPIO_WritePin(OTG_FS_PowerSwitchOn_GPIO_Port, OTG_FS_PowerSwitchOn_Pin, GPIO_PIN_SET);

  /*Configure GPIO pin Output Level */
  HAL_GPIO_WritePin(GPIOD, LD4_Pin|LD3_Pin|LD5_Pin|LD6_Pin
                          |Audio_RST_Pin, GPIO_PIN_RESET);

  /*Configure GPIO pin : CS_I2C_SPI_Pin */
  GPIO_InitStruct.Pin = CS_I2C_SPI_Pin;
  GPIO_InitStruct.Mode = GPIO_MODE_OUTPUT_PP;
  GPIO_InitStruct.Pull = GPIO_NOPULL;
  GPIO_InitStruct.Speed = GPIO_SPEED_FREQ_LOW;
  HAL_GPIO_Init(CS_I2C_SPI_GPIO_Port, &GPIO_InitStruct);

  /*Configure GPIO pin : OTG_FS_PowerSwitchOn_Pin */
  GPIO_InitStruct.Pin = OTG_FS_PowerSwitchOn_Pin;
  GPIO_InitStruct.Mode = GPIO_MODE_OUTPUT_PP;
  GPIO_InitStruct.Pull = GPIO_NOPULL;
  GPIO_InitStruct.Speed = GPIO_SPEED_FREQ_LOW;
  HAL_GPIO_Init(OTG_FS_PowerSwitchOn_GPIO_Port, &GPIO_InitStruct);

  /*Configure GPIO pin : PDM_OUT_Pin */
  GPIO_InitStruct.Pin = PDM_OUT_Pin;
  GPIO_InitStruct.Mode = GPIO_MODE_AF_PP;
  GPIO_InitStruct.Pull = GPIO_NOPULL;
  GPIO_InitStruct.Speed = GPIO_SPEED_FREQ_LOW;
  GPIO_InitStruct.Alternate = GPIO_AF5_SPI2;
  HAL_GPIO_Init(PDM_OUT_GPIO_Port, &GPIO_InitStruct);

  /*Configure GPIO pin : B1_Pin */
  GPIO_InitStruct.Pin = B1_Pin;
  GPIO_InitStruct.Mode = GPIO_MODE_EVT_RISING;
  GPIO_InitStruct.Pull = GPIO_NOPULL;
  HAL_GPIO_Init(B1_GPIO_Port, &GPIO_InitStruct);

  /*Configure GPIO pin : BOOT1_Pin */
  GPIO_InitStruct.Pin = BOOT1_Pin;
  GPIO_InitStruct.Mode = GPIO_MODE_INPUT;
  GPIO_InitStruct.Pull = GPIO_NOPULL;
  HAL_GPIO_Init(BOOT1_GPIO_Port, &GPIO_InitStruct);

  /*Configure GPIO pin : CLK_IN_Pin */
  GPIO_InitStruct.Pin = CLK_IN_Pin;
  GPIO_InitStruct.Mode = GPIO_MODE_AF_PP;
  GPIO_InitStruct.Pull = GPIO_NOPULL;
  GPIO_InitStruct.Speed = GPIO_SPEED_FREQ_LOW;
  GPIO_InitStruct.Alternate = GPIO_AF5_SPI2;
  HAL_GPIO_Init(CLK_IN_GPIO_Port, &GPIO_InitStruct);

  /*Configure GPIO pins : LD4_Pin LD3_Pin LD5_Pin LD6_Pin
                           Audio_RST_Pin */
  GPIO_InitStruct.Pin = LD4_Pin|LD3_Pin|LD5_Pin|LD6_Pin
                          |Audio_RST_Pin;
  GPIO_InitStruct.Mode = GPIO_MODE_OUTPUT_PP;
  GPIO_InitStruct.Pull = GPIO_NOPULL;
  GPIO_InitStruct.Speed = GPIO_SPEED_FREQ_LOW;
  HAL_GPIO_Init(GPIOD, &GPIO_InitStruct);

  /*Configure GPIO pin : OTG_FS_OverCurrent_Pin */
  GPIO_InitStruct.Pin = OTG_FS_OverCurrent_Pin;
  GPIO_InitStruct.Mode = GPIO_MODE_INPUT;
  GPIO_InitStruct.Pull = GPIO_NOPULL;
  HAL_GPIO_Init(OTG_FS_OverCurrent_GPIO_Port, &GPIO_InitStruct);

  /*Configure GPIO pin : MEMS_INT2_Pin */
  GPIO_InitStruct.Pin = MEMS_INT2_Pin;
  GPIO_InitStruct.Mode = GPIO_MODE_EVT_RISING;
  GPIO_InitStruct.Pull = GPIO_NOPULL;
  HAL_GPIO_Init(MEMS_INT2_GPIO_Port, &GPIO_InitStruct);

}

/* USER CODE BEGIN 4 */
//uint8_t usbRxData[8] ; //The number should be the same as APP_RX_DATA_SIZE
/* USER CODE END 4 */

void StartDefaultTask(void *argument)
{
  int i;
  /* init code for USB_DEVICE */
  MX_USB_DEVICE_Init();
  /* USER CODE BEGIN 5 */
  /* Infinite loop */
  for(;;)
  {
    /*
    //CDC_Transmit_FS((unsigned char*)"Hello Test", strlen("Hello Test"));
    if(CDC_Read(usbRxData, 8)) {
      //The number should be the same as APP_RX_DATA_SIZE
      //CDC_Transmit_FS(usbRxData, 8) ;

    }
  */
  /*if(CDC_Read())
  {
    TIM_OC_InitTypeDef sConfigOC;

    sConfigOC.OCMode = TIM_OCMODE_PWM1;
    sConfigOC.Pulse = 50;
    sConfigOC.OCPolarity = TIM_OCPOLARITY_HIGH;
    sConfigOC.OCFastMode = TIM_OCFAST_DISABLE;
    HAL_TIM_PWM_ConfigChannel(&htim3, &sConfigOC, TIM_CHANNEL_3);
    HAL_TIM_MspPostInit(&htim3);
    HAL_TIM_PWM_Start(&htim3, TIM_CHANNEL_3);
  }*/
    for(i = 0; i < SERVOS_NUM; i++)
    {
      if (Servos[i].refreshed == 1)
      {
        TIM_OC_InitTypeDef sConfigOC;

        sConfigOC.OCMode = TIM_OCMODE_PWM1;
        sConfigOC.Pulse = Servos[i].FirstJoint;
        sConfigOC.OCPolarity = TIM_OCPOLARITY_HIGH;
        sConfigOC.OCFastMode = TIM_OCFAST_DISABLE;
        HAL_TIM_PWM_ConfigChannel(&htim3, &sConfigOC, TIM_CHANNEL_3);
        HAL_TIM_MspPostInit(&htim3);
        HAL_TIM_PWM_Start(&htim3, TIM_CHANNEL_3);
        Servos[i].refreshed = 0;
      }
    }
    HAL_GPIO_TogglePin(GPIOD,GPIO_PIN_12);
    osDelay(500);
  }
  /* USER CODE END 5 */
}

void HAL_TIM_PeriodElapsedCallback(TIM_HandleTypeDef *htim)
{
  if (htim->Instance == TIM7) {
    HAL_IncTick();
  }
}

void Error_Handler(void)
{
}

/************************ (C) COPYRIGHT STMicroelectronics *****END OF FILE****/
